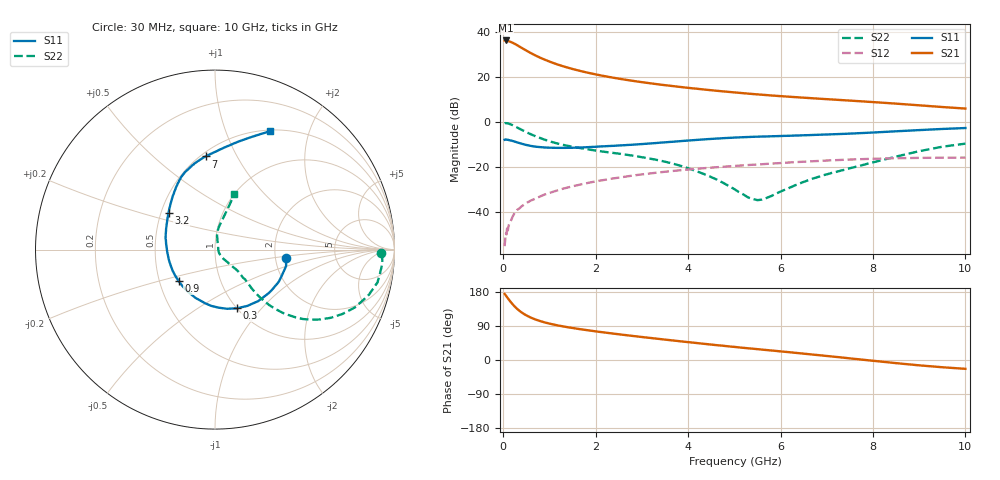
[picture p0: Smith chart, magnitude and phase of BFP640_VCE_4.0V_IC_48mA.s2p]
! Infineon Technologies  Discrete & RF Semiconductors
! BFP640
! VCE =  4.0 V,  IC =  48 mA
! Common Emitter S-Parameters:  Apr 2013
# GHz  S  MA  R  50
!  f  S11  S21  S12  S22
! GHz  MAG  ANG  MAG  ANG  MAG  ANG  MAG  ANG
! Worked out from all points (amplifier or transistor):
!   99 points, 30 MHz to 10 GHz, reference 50 ohm
!   highest |S21| = 36.2 dB at 50 MHz (marker M1)
!   |S21| within 3 dB of that: start of sweep to 374.2 MHz
!   unconditionally stable (mu >= 1): 1.674 GHz to end of sweep
!   at 350 MHz: K = 0.53, MSG = 36.0 dB, |S12| = -38.6 dB
!   at 3.5 GHz: K = 1.06, MAG = 17.7 dB, |S12| = -22.3 dB
!   at 10 GHz: K = 1.06, MAG = 9.4 dB, |S12| = -15.9 dB
!   S11 on the Smith chart (normalised r, x): 30 MHz: 2.29, -0.26; 300 MHz: 1.00, -0.74; 900 MHz: 0.63, -0.24; 3.2 GHz: 0.55, +0.25; 7 GHz: 0.53, +0.76; 10 GHz: 0.52, +1.44
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0.03  0.398 -6.8  64.62 174.4  0.0017 93.6  0.9242 -1.3
0.05  0.4066 -12.9  64.74 171.4  0.0028 62.3  0.9358 -4.6
0.08  0.3998 -20.8  64.09 166.2  0.0039 74.1  0.9288 -8.7
0.15  0.3859 -38.6  60.79 154.9  0.0057 73.7  0.8849 -17.4
0.2  0.3747 -50.0  57.72 147.6  0.0076 73.3  0.843 -22.5
0.25  0.3617 -60.2  54.43 140.9  0.0095 73.7  0.7955 -26.8
0.3  0.3489 -69.8  50.86 135.1  0.0109 70.8  0.7486 -30.5
0.35  0.3363 -78.6  47.35 129.9  0.0118 67.5  0.7035 -33.6
0.45  0.3147 -93.4  41.21 121.3  0.0142 67.2  0.6242 -38.3
0.6  0.29 -112.1  33.78 111.7  0.0177 65.9  0.5265 -42.7
0.7  0.2792 -122.4  29.9 106.8  0.0195 66.1  0.4756 -44.4
0.9  0.2676 -139.4  24.14 99.1  0.0241 65.5  0.3985 -46.2
1.2  0.2625 -158.6  18.53 90.8  0.0303 64.2  0.3236 -46.8
1.7  0.2684 179.4  13.31 80.7  0.0408 61.4  0.2559 -45.3
2.3  0.2891 161.6  9.919 70.9  0.0532 57.5  0.2076 -44.5
3.2  0.3303 141.6  7.159 58.0  0.0712 50.3  0.1496 -43.7
3.4  0.3431 137.7  6.734 55.2  0.0752 48.5  0.1361 -44.1
5.1  0.4492 114.1  4.422 33.3  0.1056 33.4  0.0272 -37.0
6.7  0.5089 99.1  3.339 14.3  0.1324 19.3  0.0544 75.5
7  0.5215 95.6  3.191 10.6  0.1372 16.4  0.0674 79.5
8.5  0.6143 78.0  2.538 -8.3  0.1545 1.1  0.1679 76.5
10  0.7266 65.1  1.972 -23.3  0.1598 -10.9  0.3263 71.4
